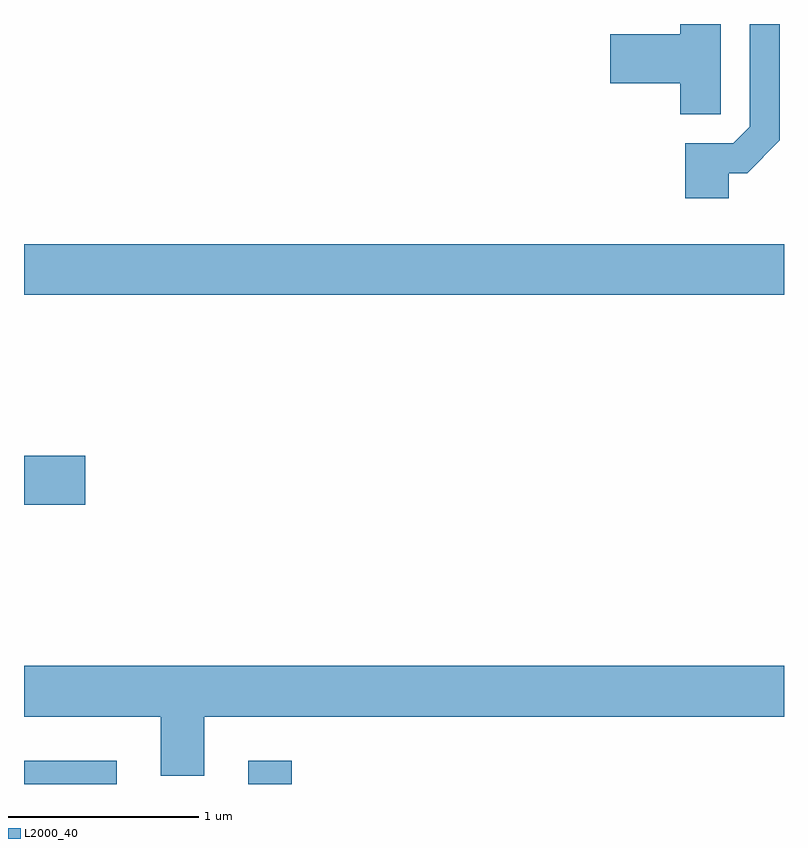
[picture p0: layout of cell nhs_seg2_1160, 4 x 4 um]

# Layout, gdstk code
import gdstk
lib = gdstk.Library(unit=1e-6, precision=1e-09)
def R(c, l, rs):  # rectangles x0, y0, x1, y1
    for r in rs: c.add(gdstk.rectangle(r[:2], r[2:], *l))
def P(c, l, *ps):  # polygons
    for p in ps: c.add(gdstk.Polygon(p, *l))
L2000_40 = (2000, 40)

nhs_seg2_1160 = lib.new_cell('nhs_seg2_1160')
R(nhs_seg2_1160, L2000_40, [(219.611,985.802,220.099,985.924), (220.791,985.802,221.019,985.924), (219.611,987.271,219.934,987.529), (219.611,988.376,223.611,988.644)])
P(nhs_seg2_1160, L2000_40, [(223.319,989.016),(223.417,989.016),(223.589,989.189),(223.589,989.802),(223.431,989.802),(223.431,989.262),(223.344,989.174),(223.091,989.174),(223.091,988.886),(223.319,988.886)],
  [(223.279,989.802),(223.066,989.802),(223.066,989.749),(222.696,989.749),(222.696,989.491),(223.066,989.491),(223.066,989.326),(223.279,989.326)],
  [(220.559,986.156),(223.611,986.156),(223.611,986.424),(219.611,986.424),(219.611,986.156),(220.331,986.156),(220.331,985.846),(220.559,985.846)])

lib.write_gds('nhs_seg2_1160.gds')
